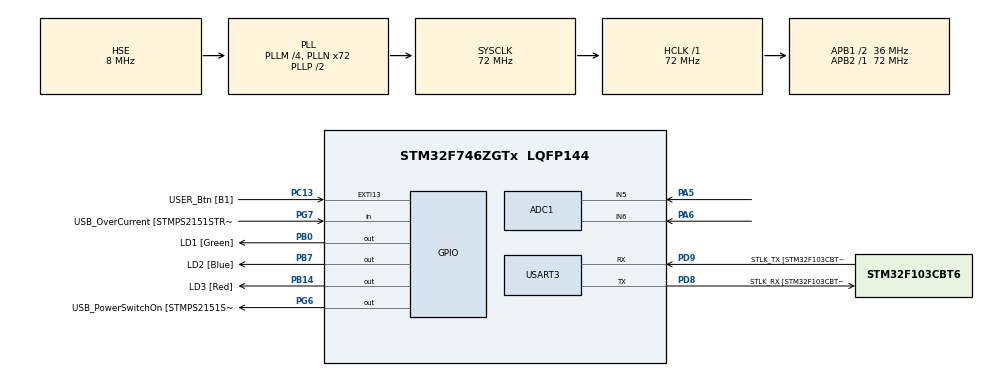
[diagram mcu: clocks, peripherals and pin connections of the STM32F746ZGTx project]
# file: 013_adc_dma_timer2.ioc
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ADC1.Channel-0\#ChannelRegularConversion=ADC_CHANNEL_5
ADC1.Channel-1\#ChannelRegularConversion=ADC_CHANNEL_6
ADC1.Channel-2\#ChannelRegularConversion=ADC_CHANNEL_TEMPSENSOR
ADC1.DMAContinuousRequests=DISABLE
ADC1.DiscontinuousConvMode=DISABLE
ADC1.EOCSelection=ADC_EOC_SEQ_CONV
ADC1.ExternalTrigConv=ADC_EXTERNALTRIGCONV_T2_TRGO
ADC1.ExternalTrigConvEdge=ADC_EXTERNALTRIGCONVEDGE_RISING
ADC1.NbrOfConversion=3
ADC1.NbrOfConversionFlag=1
ADC1.Rank-0\#ChannelRegularConversion=1
ADC1.Rank-1\#ChannelRegularConversion=2
ADC1.Rank-2\#ChannelRegularConversion=3
ADC1.SamplingTime-0\#ChannelRegularConversion=ADC_SAMPLETIME_3CYCLES
ADC1.SamplingTime-1\#ChannelRegularConversion=ADC_SAMPLETIME_3CYCLES
ADC1.SamplingTime-2\#ChannelRegularConversion=ADC_SAMPLETIME_480CYCLES
ADC1.ScanConvMode=ADC_SCAN_ENABLE
ADC1.master=1
Dma.ADC1.0.Direction=DMA_PERIPH_TO_MEMORY
Dma.ADC1.0.FIFOMode=DMA_FIFOMODE_DISABLE
Dma.ADC1.0.Instance=DMA2_Stream0
Dma.ADC1.0.MemDataAlignment=DMA_MDATAALIGN_WORD
Dma.ADC1.0.MemInc=DMA_MINC_ENABLE
Dma.ADC1.0.Mode=DMA_CIRCULAR
Dma.ADC1.0.PeriphDataAlignment=DMA_PDATAALIGN_WORD
Dma.ADC1.0.PeriphInc=DMA_PINC_DISABLE
Dma.ADC1.0.Priority=DMA_PRIORITY_LOW
Dma.Request0=ADC1
Mcu.Family=STM32F7
Mcu.Name=STM32F746ZGTx
Mcu.Package=LQFP144
NVIC.DMA2_Stream0_IRQn=true\:0\:0\:false\:false\:true\:false\:true
NVIC.PriorityGroup=NVIC_PRIORITYGROUP_4
PA1.GPIO_Label=RMII_REF_CLK [LAN8742A-CZ-TR_REFCLK0]
PA1.Signal=ETH_REF_CLK
PA10.GPIO_Label=USB_ID
PA10.Signal=USB_OTG_FS_ID
PA11.GPIO_Label=USB_DM
PA11.Signal=USB_OTG_FS_DM
PA12.GPIO_Label=USB_DP
PA12.Signal=USB_OTG_FS_DP
PA13.GPIO_Label=TMS
PA13.Mode=Serial_Wire
PA13.Signal=SYS_JTMS-SWDIO
PA14.GPIO_Label=TCK
PA14.Mode=Serial_Wire
PA14.Signal=SYS_JTCK-SWCLK
PA2.GPIO_Label=RMII_MDIO [LAN8742A-CZ-TR_MDIO]
PA2.Signal=ETH_MDIO
PA5.Signal=ADCx_IN5
PA6.Signal=ADCx_IN6
PA7.GPIO_Label=RMII_CRS_DV [LAN8742A-CZ-TR_CRS_DV]
PA7.Signal=ETH_CRS_DV
PA8.GPIO_Label=USB_SOF [TP1]
PA8.Signal=USB_OTG_FS_SOF
PA9.GPIO_Label=USB_VBUS
PA9.Signal=USB_OTG_FS_VBUS
PB0.GPIO_Label=LD1 [Green]
PB0.Signal=GPIO_Output
PB13.GPIO_Label=RMII_TXD1 [LAN8742A-CZ-TR_TXD1]
PB13.Signal=ETH_TXD1
PB14.GPIO_Label=LD3 [Red]
PB14.Signal=GPIO_Output
PB3.GPIO_Label=SW0
PB3.Signal=SYS_JTDO-SWO
PB7.GPIO_Label=LD2 [Blue]
PB7.Signal=GPIO_Output
PC1.GPIO_Label=RMII_MDC [LAN8742A-CZ-TR_MDC]
PC1.Signal=ETH_MDC
PC13.GPIO_Label=USER_Btn [B1]
PC13.Signal=GPXTI13
PC14/OSC32_IN.Mode=LSE-External-Oscillator
PC14/OSC32_IN.Signal=RCC_OSC32_IN
PC15/OSC32_OUT.Mode=LSE-External-Oscillator
PC15/OSC32_OUT.Signal=RCC_OSC32_OUT
PC4.GPIO_Label=RMII_RXD0 [LAN8742A-CZ-TR_RXD0]
PC4.Signal=ETH_RXD0
PC5.GPIO_Label=RMII_RXD1 [LAN8742A-CZ-TR_RXD1]
PC5.Signal=ETH_RXD1
PD8.GPIO_Label=STLK_RX [STM32F103CBT6_PA3]
PD8.Mode=Asynchronous
PD8.Signal=USART3_TX
PD9.GPIO_Label=STLK_TX [STM32F103CBT6_PA2]
PD9.Mode=Asynchronous
PD9.Signal=USART3_RX
PG11.GPIO_Label=RMII_TX_EN [LAN8742A-CZ-TR_TXEN]
PG11.Signal=ETH_TX_EN
PG13.GPIO_Label=RMII_TXD0 [LAN8742A-CZ-TR_TXD0]
PG13.Signal=ETH_TXD0
PG6.GPIO_Label=USB_PowerSwitchOn [STMPS2151STR_EN]
PG6.Signal=GPIO_Output
PG7.GPIO_Label=USB_OverCurrent [STMPS2151STR_FAULT]
PG7.Signal=GPIO_Input
PH0/OSC_IN.GPIO_Label=MCO [STM32F103CBT6_PA8]
PH0/OSC_IN.Mode=HSE-External-Clock-Source
PH0/OSC_IN.Signal=RCC_OSC_IN
PH1/OSC_OUT.Mode=HSE-External-Clock-Source
PH1/OSC_OUT.Signal=RCC_OSC_OUT
ProjectManager.HeapSize=0x200
ProjectManager.StackSize=0x400
ProjectManager.TargetToolchain=STM32CubeIDE
RCC.48MHZClocksFreq_Value=24000000
RCC.AHBFreq_Value=72000000
RCC.APB1CLKDivider=RCC_HCLK_DIV2
RCC.APB1Freq_Value=36000000
RCC.APB1TimFreq_Value=72000000
RCC.APB2Freq_Value=72000000
RCC.APB2TimFreq_Value=72000000
RCC.CortexFreq_Value=72000000
RCC.HCLKFreq_Value=72000000
RCC.HSE_VALUE=8000000
RCC.HSI_VALUE=16000000
RCC.PLLM=4
RCC.PLLMUL=RCC_PLL_MUL9
RCC.PLLN=72
RCC.PLLQ=3
RCC.PLLSourceVirtual=RCC_PLLSOURCE_HSE
RCC.PRESCALERUSB=RCC_USBCLKSOURCE_PLL_DIV1_5
RCC.SYSCLKFreq_VALUE=72000000
RCC.SYSCLKSource=RCC_SYSCLKSOURCE_PLLCLK
RCC.SYSCLKSourceVirtual=RCC_SYSCLKSOURCE_PLLCLK
RCC.USBFreq_Value=48000000
RCC.VCOOutputFreq_Value=144000000
SH.ADCx_IN5.0=ADC1_IN5,IN5
SH.ADCx_IN6.0=ADC1_IN6,IN6
TIM2.Period=999999
TIM2.Prescaler=71
TIM2.TIM_MasterOutputTrigger=TIM_TRGO_UPDATE
TIM2.TIM_MasterSlaveMode=TIM_MASTERSLAVEMODE_DISABLE
USART3.VirtualMode-Asynchronous=VM_ASYNC
VP_ADC1_TempSens_Input.Mode=IN-TempSens
VP_TIM2_VS_ClockSourceINT.Mode=Internal
board=NUCLEO-F746ZG

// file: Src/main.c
/* USER CODE BEGIN Header */
/**
  ******************************************************************************
  * @file           : main.c
  * @brief          : Main program body
  ******************************************************************************
  * @attention
  *
  * <h2><center>&copy; Copyright (c) 2020 STMicroelectronics.
  * All rights reserved.</center></h2>
  *
  * This software component is licensed by ST under BSD 3-Clause license,
  * the "License"; You may not use this file except in compliance with the
  * License. You may obtain a copy of the License at:
  *                        opensource.org/licenses/BSD-3-Clause
  *
  ******************************************************************************
  */
/* USER CODE END Header */
#include "main.h"

/* USER CODE BEGIN Includes */
#include <string.h>
#include <stdio.h>
/* USER CODE END Includes */

ADC_HandleTypeDef hadc1;
DMA_HandleTypeDef hdma_adc1;

TIM_HandleTypeDef htim2;

UART_HandleTypeDef huart3;

/* USER CODE BEGIN PV */
uint32_t volatile flag_adc1 = 0; // must be volatile!
uint32_t raw_adc[3], buffer[3];
/* USER CODE END PV */

void SystemClock_Config(void);
static void MX_DMA_Init(void);
static void MX_ADC1_Init(void);
static void MX_TIM2_Init(void);
static void MX_GPIO_Init(void);
static void MX_USART3_UART_Init(void);

/* USER CODE BEGIN 0 */
void HAL_ADC_ConvCpltCallback(ADC_HandleTypeDef* hadc)
{
  if ( hadc == &hadc1 ) { // check which ADC is being serviced
    for (int i =0; i<3; i++) {
      raw_adc[i] = buffer[i];
    }
    flag_adc1 = 1;
  }
}
/* USER CODE END 0 */

int main(void)
{

  /* MCU Configuration--------------------------------------------------------*/

  /* Reset of all peripherals, Initializes the Flash interface and the Systick. */
  HAL_Init();

  /* Configure the system clock */
  SystemClock_Config();

  /* Initialize all configured peripherals */
  MX_DMA_Init();
  MX_ADC1_Init();
  MX_TIM2_Init();
  MX_GPIO_Init();
  MX_USART3_UART_Init();
  /* USER CODE BEGIN 2 */
  HAL_ADC_Start_DMA(&hadc1, buffer, 3);
  HAL_TIM_Base_Start(&htim2);
  /* USER CODE END 2 */

  /* Infinite loop */
  while (1)
  {

    /* USER CODE BEGIN 3 */
    while ( flag_adc1!=1 )
      ;
    flag_adc1 = 0; // indicates that we consumed the data

    uint32_t ch5_voltage = (raw_adc[0] * 3300U) / 4095U;
    uint32_t ch6_voltage = (raw_adc[1] * 3300U) / 4095U;
    uint32_t cht_voltage = (raw_adc[2] * 3300U) / 4095U;
    uint32_t temperature = 25 + (cht_voltage*10 - 7600U) /25; // V25 = 0.76V, avg slope = 2.5mV/C

    char buffer[80];
    sprintf(buffer, "%lu\t%lu\t%lu\t%lu\r\n",
        ch5_voltage, ch6_voltage, cht_voltage, temperature);
    HAL_UART_Transmit(&huart3, (void*)buffer, strlen(buffer), 10);
  }
  /* USER CODE END 3 */
}

void SystemClock_Config(void)
{
  RCC_OscInitTypeDef RCC_OscInitStruct = {0};
  RCC_ClkInitTypeDef RCC_ClkInitStruct = {0};

  /** Configure LSE Drive Capability
  */
  HAL_PWR_EnableBkUpAccess();
  /** Configure the main internal regulator output voltage
  */
  __HAL_RCC_PWR_CLK_ENABLE();
  __HAL_PWR_VOLTAGESCALING_CONFIG(PWR_REGULATOR_VOLTAGE_SCALE3);
  /** Initializes the RCC Oscillators according to the specified parameters
  * in the RCC_OscInitTypeDef structure.
  */
  RCC_OscInitStruct.OscillatorType = RCC_OSCILLATORTYPE_HSE;
  RCC_OscInitStruct.HSEState = RCC_HSE_BYPASS;
  RCC_OscInitStruct.PLL.PLLState = RCC_PLL_ON;
  RCC_OscInitStruct.PLL.PLLSource = RCC_PLLSOURCE_HSE;
  RCC_OscInitStruct.PLL.PLLM = 4;
  RCC_OscInitStruct.PLL.PLLN = 72;
  RCC_OscInitStruct.PLL.PLLP = RCC_PLLP_DIV2;
  RCC_OscInitStruct.PLL.PLLQ = 3;
  if (HAL_RCC_OscConfig(&RCC_OscInitStruct) != HAL_OK)
  {
    Error_Handler();
  }
  /** Initializes the CPU, AHB and APB buses clocks
  */
  RCC_ClkInitStruct.ClockType = RCC_CLOCKTYPE_HCLK|RCC_CLOCKTYPE_SYSCLK
                              |RCC_CLOCKTYPE_PCLK1|RCC_CLOCKTYPE_PCLK2;
  RCC_ClkInitStruct.SYSCLKSource = RCC_SYSCLKSOURCE_PLLCLK;
  RCC_ClkInitStruct.AHBCLKDivider = RCC_SYSCLK_DIV1;
  RCC_ClkInitStruct.APB1CLKDivider = RCC_HCLK_DIV2;
  RCC_ClkInitStruct.APB2CLKDivider = RCC_HCLK_DIV1;

  if (HAL_RCC_ClockConfig(&RCC_ClkInitStruct, FLASH_LATENCY_2) != HAL_OK)
  {
    Error_Handler();
  }
}

static void MX_ADC1_Init(void)
{

  ADC_ChannelConfTypeDef sConfig = {0};

  /** Configure the global features of the ADC (Clock, Resolution, Data Alignment and number of conversion)
  */
  hadc1.Instance = ADC1;
  hadc1.Init.ClockPrescaler = ADC_CLOCK_SYNC_PCLK_DIV2;
  hadc1.Init.Resolution = ADC_RESOLUTION_12B;
  hadc1.Init.ScanConvMode = ADC_SCAN_ENABLE;
  hadc1.Init.ContinuousConvMode = DISABLE;
  hadc1.Init.DiscontinuousConvMode = DISABLE;
  hadc1.Init.ExternalTrigConvEdge = ADC_EXTERNALTRIGCONVEDGE_RISING;
  hadc1.Init.ExternalTrigConv = ADC_EXTERNALTRIGCONV_T2_TRGO;
  hadc1.Init.DataAlign = ADC_DATAALIGN_RIGHT;
  hadc1.Init.NbrOfConversion = 3;
  hadc1.Init.DMAContinuousRequests = DISABLE;
  hadc1.Init.EOCSelection = ADC_EOC_SEQ_CONV;
  if (HAL_ADC_Init(&hadc1) != HAL_OK)
  {
    Error_Handler();
  }
  /** Configure for the selected ADC regular channel its corresponding rank in the sequencer and its sample time.
  */
  sConfig.Channel = ADC_CHANNEL_5;
  sConfig.Rank = ADC_REGULAR_RANK_1;
  sConfig.SamplingTime = ADC_SAMPLETIME_3CYCLES;
  if (HAL_ADC_ConfigChannel(&hadc1, &sConfig) != HAL_OK)
  {
    Error_Handler();
  }
  /** Configure for the selected ADC regular channel its corresponding rank in the sequencer and its sample time.
  */
  sConfig.Channel = ADC_CHANNEL_6;
  sConfig.Rank = ADC_REGULAR_RANK_2;
  if (HAL_ADC_ConfigChannel(&hadc1, &sConfig) != HAL_OK)
  {
    Error_Handler();
  }
  /** Configure for the selected ADC regular channel its corresponding rank in the sequencer and its sample time.
  */
  sConfig.Channel = ADC_CHANNEL_TEMPSENSOR;
  sConfig.Rank = ADC_REGULAR_RANK_3;
  sConfig.SamplingTime = ADC_SAMPLETIME_480CYCLES;
  if (HAL_ADC_ConfigChannel(&hadc1, &sConfig) != HAL_OK)
  {
    Error_Handler();
  }

}

static void MX_TIM2_Init(void)
{

  TIM_ClockConfigTypeDef sClockSourceConfig = {0};
  TIM_MasterConfigTypeDef sMasterConfig = {0};

  htim2.Instance = TIM2;
  htim2.Init.Prescaler = 71;
  htim2.Init.CounterMode = TIM_COUNTERMODE_UP;
  htim2.Init.Period = 999999;
  htim2.Init.ClockDivision = TIM_CLOCKDIVISION_DIV1;
  htim2.Init.AutoReloadPreload = TIM_AUTORELOAD_PRELOAD_DISABLE;
  if (HAL_TIM_Base_Init(&htim2) != HAL_OK)
  {
    Error_Handler();
  }
  sClockSourceConfig.ClockSource = TIM_CLOCKSOURCE_INTERNAL;
  if (HAL_TIM_ConfigClockSource(&htim2, &sClockSourceConfig) != HAL_OK)
  {
    Error_Handler();
  }
  sMasterConfig.MasterOutputTrigger = TIM_TRGO_UPDATE;
  sMasterConfig.MasterSlaveMode = TIM_MASTERSLAVEMODE_DISABLE;
  if (HAL_TIMEx_MasterConfigSynchronization(&htim2, &sMasterConfig) != HAL_OK)
  {
    Error_Handler();
  }

}

static void MX_USART3_UART_Init(void)
{

  huart3.Instance = USART3;
  huart3.Init.BaudRate = 115200;
  huart3.Init.WordLength = UART_WORDLENGTH_8B;
  huart3.Init.StopBits = UART_STOPBITS_1;
  huart3.Init.Parity = UART_PARITY_NONE;
  huart3.Init.Mode = UART_MODE_TX_RX;
  huart3.Init.HwFlowCtl = UART_HWCONTROL_NONE;
  huart3.Init.OverSampling = UART_OVERSAMPLING_16;
  huart3.Init.OneBitSampling = UART_ONE_BIT_SAMPLE_DISABLE;
  huart3.AdvancedInit.AdvFeatureInit = UART_ADVFEATURE_NO_INIT;
  if (HAL_UART_Init(&huart3) != HAL_OK)
  {
    Error_Handler();
  }

}

static void MX_DMA_Init(void)
{

  /* DMA controller clock enable */
  __HAL_RCC_DMA2_CLK_ENABLE();

  /* DMA interrupt init */
  /* DMA2_Stream0_IRQn interrupt configuration */
  HAL_NVIC_SetPriority(DMA2_Stream0_IRQn, 0, 0);
  HAL_NVIC_EnableIRQ(DMA2_Stream0_IRQn);

}

static void MX_GPIO_Init(void)
{
  GPIO_InitTypeDef GPIO_InitStruct = {0};

  /* GPIO Ports Clock Enable */
  __HAL_RCC_GPIOC_CLK_ENABLE();
  __HAL_RCC_GPIOH_CLK_ENABLE();
  __HAL_RCC_GPIOA_CLK_ENABLE();
  __HAL_RCC_GPIOB_CLK_ENABLE();
  __HAL_RCC_GPIOD_CLK_ENABLE();
  __HAL_RCC_GPIOG_CLK_ENABLE();

  /*Configure GPIO pin Output Level */
  HAL_GPIO_WritePin(GPIOB, LD1_Pin|LD3_Pin|LD2_Pin, GPIO_PIN_RESET);

  /*Configure GPIO pin Output Level */
  HAL_GPIO_WritePin(USB_PowerSwitchOn_GPIO_Port, USB_PowerSwitchOn_Pin, GPIO_PIN_RESET);

  /*Configure GPIO pin : USER_Btn_Pin */
  GPIO_InitStruct.Pin = USER_Btn_Pin;
  GPIO_InitStruct.Mode = GPIO_MODE_IT_RISING;
  GPIO_InitStruct.Pull = GPIO_NOPULL;
  HAL_GPIO_Init(USER_Btn_GPIO_Port, &GPIO_InitStruct);

  /*Configure GPIO pins : RMII_MDC_Pin RMII_RXD0_Pin RMII_RXD1_Pin */
  GPIO_InitStruct.Pin = RMII_MDC_Pin|RMII_RXD0_Pin|RMII_RXD1_Pin;
  GPIO_InitStruct.Mode = GPIO_MODE_AF_PP;
  GPIO_InitStruct.Pull = GPIO_NOPULL;
  GPIO_InitStruct.Speed = GPIO_SPEED_FREQ_VERY_HIGH;
  GPIO_InitStruct.Alternate = GPIO_AF11_ETH;
  HAL_GPIO_Init(GPIOC, &GPIO_InitStruct);

  /*Configure GPIO pins : RMII_REF_CLK_Pin RMII_MDIO_Pin RMII_CRS_DV_Pin */
  GPIO_InitStruct.Pin = RMII_REF_CLK_Pin|RMII_MDIO_Pin|RMII_CRS_DV_Pin;
  GPIO_InitStruct.Mode = GPIO_MODE_AF_PP;
  GPIO_InitStruct.Pull = GPIO_NOPULL;
  GPIO_InitStruct.Speed = GPIO_SPEED_FREQ_VERY_HIGH;
  GPIO_InitStruct.Alternate = GPIO_AF11_ETH;
  HAL_GPIO_Init(GPIOA, &GPIO_InitStruct);

  /*Configure GPIO pins : LD1_Pin LD3_Pin LD2_Pin */
  GPIO_InitStruct.Pin = LD1_Pin|LD3_Pin|LD2_Pin;
  GPIO_InitStruct.Mode = GPIO_MODE_OUTPUT_PP;
  GPIO_InitStruct.Pull = GPIO_NOPULL;
  GPIO_InitStruct.Speed = GPIO_SPEED_FREQ_LOW;
  HAL_GPIO_Init(GPIOB, &GPIO_InitStruct);

  /*Configure GPIO pin : RMII_TXD1_Pin */
  GPIO_InitStruct.Pin = RMII_TXD1_Pin;
  GPIO_InitStruct.Mode = GPIO_MODE_AF_PP;
  GPIO_InitStruct.Pull = GPIO_NOPULL;
  GPIO_InitStruct.Speed = GPIO_SPEED_FREQ_VERY_HIGH;
  GPIO_InitStruct.Alternate = GPIO_AF11_ETH;
  HAL_GPIO_Init(RMII_TXD1_GPIO_Port, &GPIO_InitStruct);

  /*Configure GPIO pin : USB_PowerSwitchOn_Pin */
  GPIO_InitStruct.Pin = USB_PowerSwitchOn_Pin;
  GPIO_InitStruct.Mode = GPIO_MODE_OUTPUT_PP;
  GPIO_InitStruct.Pull = GPIO_NOPULL;
  GPIO_InitStruct.Speed = GPIO_SPEED_FREQ_LOW;
  HAL_GPIO_Init(USB_PowerSwitchOn_GPIO_Port, &GPIO_InitStruct);

  /*Configure GPIO pin : USB_OverCurrent_Pin */
  GPIO_InitStruct.Pin = USB_OverCurrent_Pin;
  GPIO_InitStruct.Mode = GPIO_MODE_INPUT;
  GPIO_InitStruct.Pull = GPIO_NOPULL;
  HAL_GPIO_Init(USB_OverCurrent_GPIO_Port, &GPIO_InitStruct);

  /*Configure GPIO pins : USB_SOF_Pin USB_ID_Pin USB_DM_Pin USB_DP_Pin */
  GPIO_InitStruct.Pin = USB_SOF_Pin|USB_ID_Pin|USB_DM_Pin|USB_DP_Pin;
  GPIO_InitStruct.Mode = GPIO_MODE_AF_PP;
  GPIO_InitStruct.Pull = GPIO_NOPULL;
  GPIO_InitStruct.Speed = GPIO_SPEED_FREQ_VERY_HIGH;
  GPIO_InitStruct.Alternate = GPIO_AF10_OTG_FS;
  HAL_GPIO_Init(GPIOA, &GPIO_InitStruct);

  /*Configure GPIO pin : USB_VBUS_Pin */
  GPIO_InitStruct.Pin = USB_VBUS_Pin;
  GPIO_InitStruct.Mode = GPIO_MODE_INPUT;
  GPIO_InitStruct.Pull = GPIO_NOPULL;
  HAL_GPIO_Init(USB_VBUS_GPIO_Port, &GPIO_InitStruct);

  /*Configure GPIO pins : RMII_TX_EN_Pin RMII_TXD0_Pin */
  GPIO_InitStruct.Pin = RMII_TX_EN_Pin|RMII_TXD0_Pin;
  GPIO_InitStruct.Mode = GPIO_MODE_AF_PP;
  GPIO_InitStruct.Pull = GPIO_NOPULL;
  GPIO_InitStruct.Speed = GPIO_SPEED_FREQ_VERY_HIGH;
  GPIO_InitStruct.Alternate = GPIO_AF11_ETH;
  HAL_GPIO_Init(GPIOG, &GPIO_InitStruct);

}

void Error_Handler(void)
{
}
